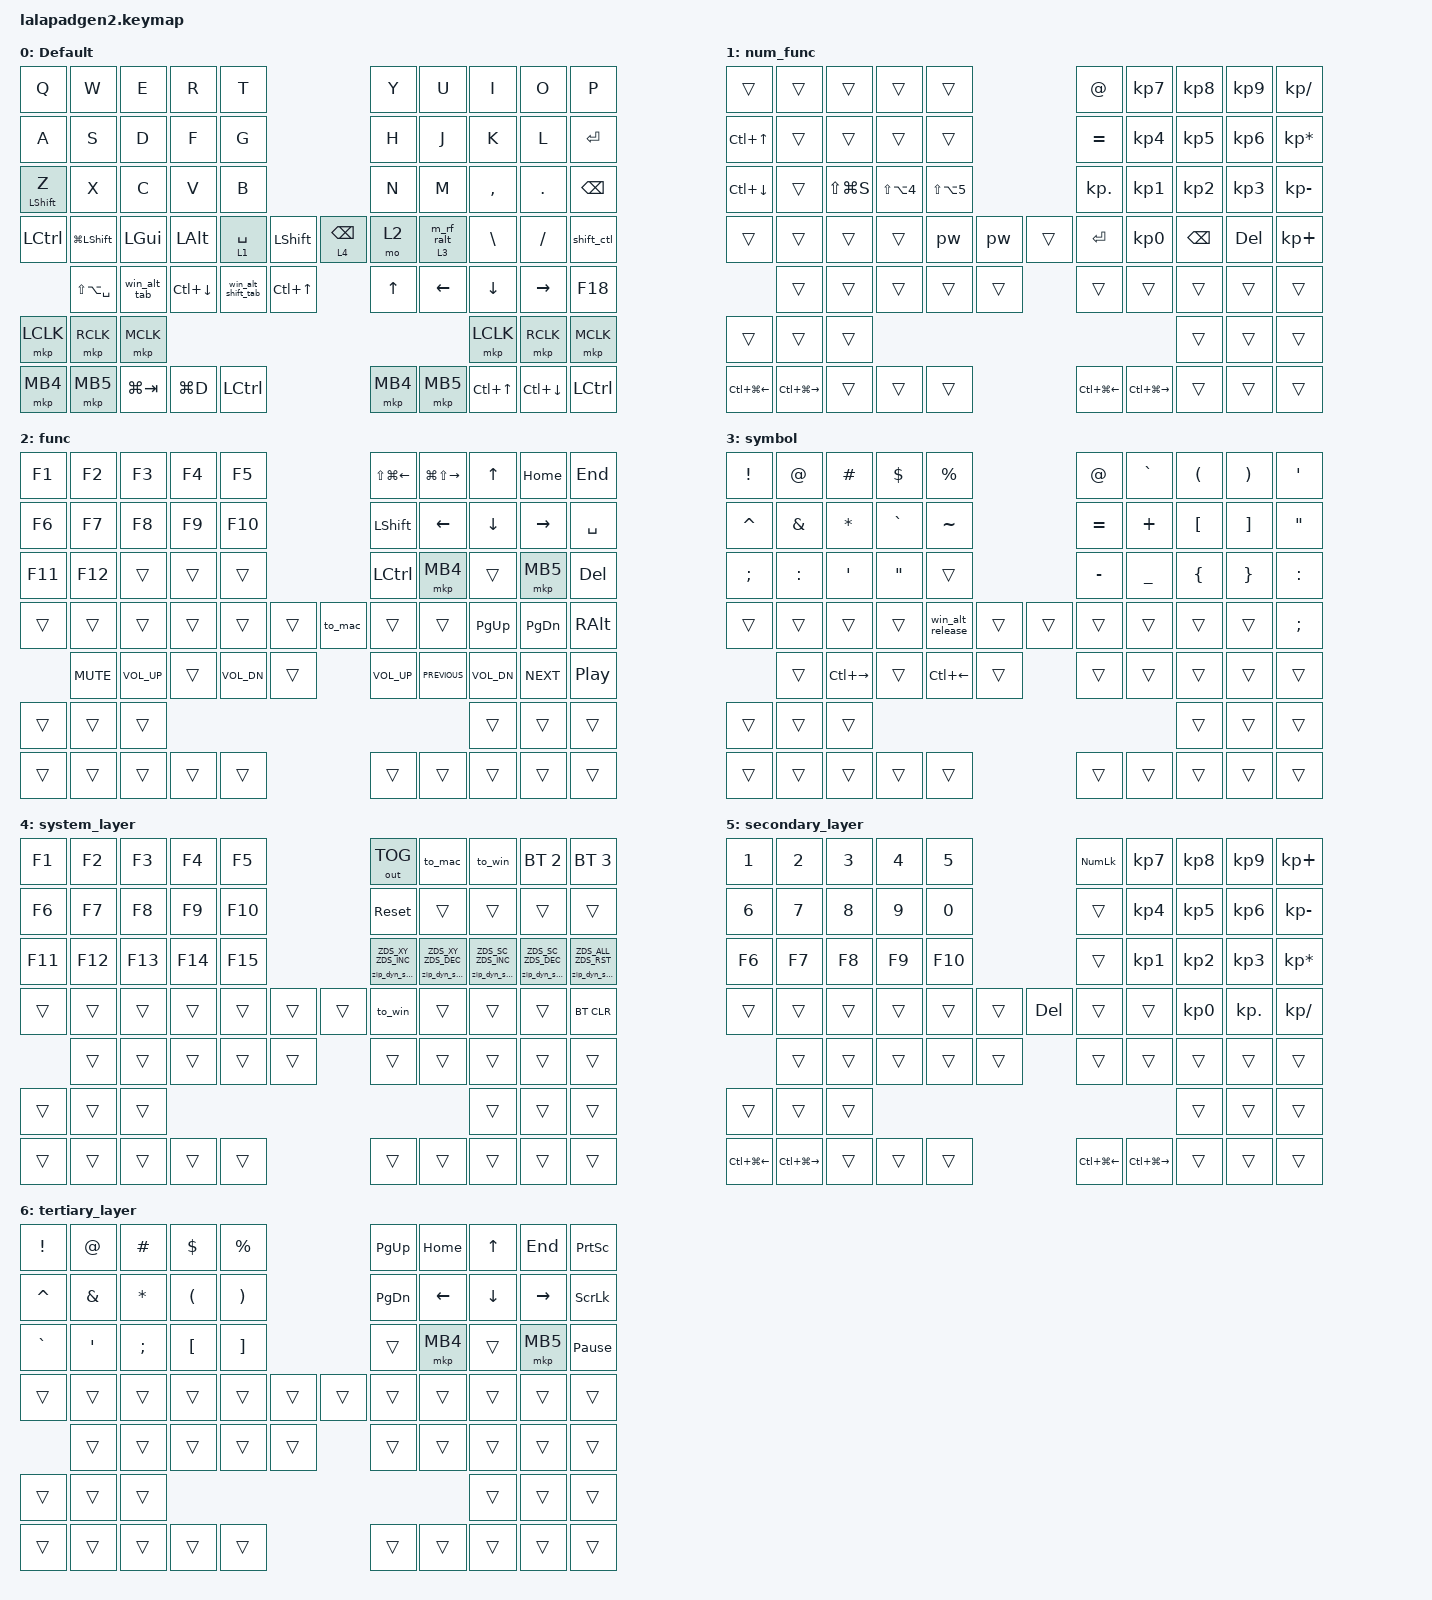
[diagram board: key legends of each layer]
#include <input/processors.dtsi>
#include <dt-bindings/zmk/zip_dynamic_scale.h>
#include <behaviors.dtsi>
#include <dt-bindings/zmk/bt.h>
#include <dt-bindings/zmk/keys.h>
#include <dt-bindings/zmk/outputs.h>
#include <dt-bindings/zmk/pointing.h>

#define DEFAULT_LAYER   0
#define SECONDARY_LAYER 1
#define TERTIARY_LAYER  2
#define SYSTEM_LAYER    3
#define MAC_BT_PROFILE 0
#define WIN_BT_PROFILE 1
#define MAC_SC_SCALE   2
#define WIN_SC_SCALE   50

&mt { quick-tap-ms = <200>; };

&lt { quick-tap-ms = <200>; };

/ {
    behaviors {
        zip_dyn_scale: zip_dyn_scale {
            compatible = "zmk,behavior-zip-dynamic-scale";
            #binding-cells = <2>;
        };

        zip_dyn_scale_set: zip_dyn_scale_set {
            compatible = "zmk,behavior-zip-dynamic-scale-set";
            #binding-cells = <2>;
        };

        mt2: mod_tap2 {
            compatible = "zmk,behavior-hold-tap";
            #binding-cells = <2>;
            flavor = "tap-preferred";
            tapping-term-ms = <200>;
            quick-tap-ms = <200>;
            require-prior-idle-ms = <125>;
            bindings = <&kp>, <&kp>;
        };

        tap_dance_layer_1and2: tap_dance_layer_1and2 {
            compatible = "zmk,behavior-tap-dance";
            label = "td_mo12";
            #binding-cells = <0>;
            bindings = <&mo 5>, <&mo 4>;
        };

        shift_ctl: shift_ctl {
            compatible = "zmk,behavior-tap-dance";
            label = "SHIFT_CTL";
            #binding-cells = <0>;
            bindings = <&kp RIGHT_SHIFT>, <&kp RCTRL>;
        };

        lr_ralt: lr_ralt {
            compatible = "zmk,behavior-hold-tap";
            #binding-cells = <2>;
            flavor = "tap-preferred";
            tapping-term-ms = <200>;
            bindings = <&mo>, <&m_rf_ralt>;
        };

        alt_tab_timer: alt_tab_timer {
            compatible = "shotaste,behavior-alt-tab-timer";
            label = "ALT_TAB_TIMER";
            #binding-cells = <2>;
            release-after-ms = <350>;
        };
    };

    combos {
        compatible = "zmk,combos";

        CONBO_ESC {
            bindings = <&kp TAB>;
            key-positions = <0 1>;
        };

        COMBO_TAB {
            bindings = <&kp CAPSLOCK>;
            key-positions = <10 11>;
        };

        COMBO_ESCAPE {
            bindings = <&kp ESCAPE>;
            key-positions = <3 4>;
        };
    };

    macros {
        pw: pw {
            compatible = "zmk,behavior-macro";
            #binding-cells = <0>;
            bindings = <&kp LS(T) &kp S &kp H &kp I &kp O &kp R &kp I &kp AT &kp NUMBER_0 &kp NUMBER_6 &kp NUMBER_0 &kp NUMBER_4 &kp ENTER>;
            label = "PW";
        };

        m_rf_ralt: m_rf_ralt {
            compatible = "zmk,behavior-macro";
            #binding-cells = <0>;
            tap-ms = <75>;
            bindings = <&kp RALT>;
        };

        win_alt_tab: win_alt_tab {
            compatible = "zmk,behavior-macro";
            label = "WIN_ALT_TAB";
            #binding-cells = <0>;
            bindings = <&alt_tab_timer TAB LALT>;
        };

        win_alt_shift_tab: win_alt_shift_tab {
            compatible = "zmk,behavior-macro";
            label = "WIN_ALT_SHIFT_TAB";
            #binding-cells = <0>;
            bindings = <&alt_tab_timer LS(TAB) LALT>;
        };

        win_alt_release: win_alt_release {
            compatible = "zmk,behavior-macro";
            label = "WIN_ALT_RELEASE";
            #binding-cells = <0>;
            bindings = <&macro_release &kp LALT>;
        };

        to_mac: to_mac {
            compatible = "zmk,behavior-macro";
            label = "TO_MAC";
            #binding-cells = <0>;
            bindings = <&bt BT_SEL MAC_BT_PROFILE &zip_dyn_scale_set ZDS_SC MAC_SC_SCALE>;
        };

        to_win: to_win {
            compatible = "zmk,behavior-macro";
            label = "TO_WIN";
            #binding-cells = <0>;
            bindings = <&bt BT_SEL WIN_BT_PROFILE &zip_dyn_scale_set ZDS_SC WIN_SC_SCALE>;
        };
    };

    keymap {
        compatible = "zmk,keymap";

        DEFAULT_LAYER {
            display-name = "Default";
            bindings = <
&kp Q              &kp W               &kp E          &kp R         &kp T                                          &kp Y     &kp U         &kp I             &kp O               &kp P
&kp A              &kp S               &kp D          &kp F         &kp G                                          &kp H     &kp J         &kp K             &kp L               &kp ENTER
&mt2 LEFT_SHIFT Z  &kp X               &kp C          &kp V         &kp B                                          &kp N     &kp M         &kp COMMA         &kp PERIOD          &kp BACKSPACE
&kp LCTRL          &kp LG(LEFT_SHIFT)  &kp LEFT_GUI   &kp LEFT_ALT  &lt 1 SPACE   &kp LEFT_SHIFT  &lt 4 BACKSPACE  &mo 2     &lr_ralt 3 0  &kp BACKSLASH     &kp SLASH           &shift_ctl
                   &kp LS(LA(SPACE))   &win_alt_tab   &kp LC(DOWN)  &win_alt_shift_tab  &kp LC(UP)      &kp UP           &kp LEFT  &kp DOWN      &kp RIGHT         &kp F18
&mkp LCLK          &mkp RCLK           &mkp MCLK                                                                                           &mkp LCLK         &mkp RCLK           &mkp MCLK
&mkp MB4           &mkp MB5            &kp LG(TAB)    &kp LG(D)     &kp LCTRL                                      &mkp MB4  &mkp MB5      &kp LC(UP_ARROW)  &kp LC(DOWN_ARROW)  &kp LEFT_CONTROL
            >;
        };

        num-func_layey {
            display-name = "num_func";
            bindings = <
&trans              &trans             &trans         &trans                &trans                                &kp AT_SIGN       &kp KP_NUMBER_7    &kp KP_NUMBER_8  &kp KP_NUMBER_9  &kp KP_DIVIDE
&kp LC(UP_ARROW)    &trans             &trans         &trans                &trans                                &kp EQUAL         &kp KP_NUMBER_4    &kp KP_NUMBER_5  &kp KP_NUMBER_6  &kp KP_MULTIPLY
&kp LC(DOWN_ARROW)  &trans             &kp LS(LG(S))  &kp LS(LA(NUMBER_4))  &kp LS(LA(NUMBER_5))                  &kp KP_DOT        &kp KP_NUMBER_1    &kp KP_NUMBER_2  &kp KP_NUMBER_3  &kp KP_MINUS
&trans              &trans             &trans         &trans                &pw                   &pw     &trans  &kp ENTER         &kp KP_NUMBER_0    &kp BACKSPACE    &kp DELETE       &kp KP_PLUS
                    &trans             &trans         &trans                &trans                &trans  &trans  &trans            &trans             &trans           &trans
&trans              &trans             &trans                                                                                                          &trans           &trans           &trans
&kp LC(LG(LEFT))    &kp LC(LG(RIGHT))  &trans         &trans                &trans                                &kp LC(LG(LEFT))  &kp LC(LG(RIGHT))  &trans           &trans           &trans
            >;
        };

        function_layer {
            bindings = <
&kp F1   &kp F2      &kp F3        &kp F4  &kp F5                              &kp LS(LG(LEFT_ARROW))  &kp LG(LS(RIGHT_ARROW))  &kp UP       &kp HOME          &kp END
&kp F6   &kp F7      &kp F8        &kp F9  &kp F10                             &kp LSHFT               &kp LEFT                 &kp DOWN     &kp RIGHT         &kp SPACE
&kp F11  &kp F12     &trans        &trans  &trans                              &kp LCTRL               &mkp MB4                 &trans       &mkp MB5          &kp DEL
&trans   &trans      &trans        &trans  &trans        &trans  &to_mac       &trans                  &trans                   &kp PAGE_UP  &kp PAGE_DOWN     &kp RIGHT_ALT
         &kp C_MUTE  &kp C_VOL_UP  &trans  &kp C_VOL_DN  &trans  &kp C_VOL_UP  &kp K_PREVIOUS          &kp C_VOL_DN             &kp C_NEXT   &kp C_PLAY_PAUSE
&trans   &trans      &trans                                                                                                     &trans       &trans            &trans
&trans   &trans      &trans        &trans  &trans                              &trans                  &trans                   &trans       &trans            &trans
            >;

            label = "func";
        };

        symbol_layer {
            bindings = <
&kp EXCLAMATION  &kp AT_SIGN    &kp HASH      &kp DOLLAR         &kp PERCENT                      &kp AT_SIGN  &kp GRAVE       &kp LEFT_PARENTHESIS  &kp RIGHT_PARENTHESIS  &kp SQT
&kp CARET        &kp AMPERSAND  &kp ASTERISK  &kp GRAVE          &kp TILDE                        &kp EQUAL    &kp PLUS        &kp LBKT              &kp RBKT               &kp DOUBLE_QUOTES
&kp SEMICOLON    &kp COLON      &kp SQT       &kp DOUBLE_QUOTES  &trans                           &kp MINUS    &kp UNDERSCORE  &kp LEFT_BRACE        &kp RIGHT_BRACE        &kp COLON
&trans           &trans         &trans        &trans             &win_alt_release  &trans  &trans  &trans       &trans          &trans                &trans                 &kp SEMI
                 &trans         &kp LC(RIGHT)  &trans            &kp LC(LEFT)     &trans  &trans  &trans       &trans          &trans                &trans
&trans           &trans         &trans                                                                                         &trans                &trans                 &trans
&trans           &trans         &trans        &trans             &trans                           &trans       &trans          &trans                &trans                 &trans
            >;

            label = "symbol";
        };

        SYSTEM_LAYER {
            display-name = "system_layer";
            bindings = <
&kp F1   &kp F2   &kp F3   &kp F4   &kp F5                   &out OUT_TOG                   &to_mac                        &to_win                        &bt BT_SEL 2                   &bt BT_SEL 3
&kp F6   &kp F7   &kp F8   &kp F9   &kp F10                  &sys_reset                     &trans                         &trans                         &trans                         &trans
&kp F11  &kp F12  &kp F13  &kp F14  &kp F15                  &zip_dyn_scale ZDS_XY ZDS_INC  &zip_dyn_scale ZDS_XY ZDS_DEC  &zip_dyn_scale ZDS_SC ZDS_INC  &zip_dyn_scale ZDS_SC ZDS_DEC  &zip_dyn_scale ZDS_ALL ZDS_RST
&trans   &trans   &trans   &trans   &trans   &trans  &trans  &to_win                        &trans                         &trans                         &trans                         &bt BT_CLR
         &trans   &trans   &trans   &trans   &trans  &trans  &trans                         &trans                         &trans                         &trans
&trans   &trans   &trans                                                                                                   &trans                         &trans                         &trans
&trans   &trans   &trans   &trans   &trans                   &trans                         &trans                         &trans                         &trans                         &trans
            >;
        };

        SECONDARY_LAYER {
            display-name = "secondary_layer";
            bindings = <
&kp NUMBER_1      &kp NUMBER_2       &kp NUMBER_3  &kp NUMBER_4  &kp N5                    &kp KP_NUMLOCK    &kp KP_NUMBER_7    &kp KP_NUMBER_8  &kp KP_NUMBER_9  &kp KP_PLUS
&kp NUMBER_6      &kp N7             &kp N8        &kp N9        &kp N0                    &trans            &kp KP_NUMBER_4    &kp KP_NUMBER_5  &kp KP_NUMBER_6  &kp KP_MINUS
&kp F6            &kp F7             &kp F8        &kp F9        &kp F10                   &trans            &kp KP_NUMBER_1    &kp KP_NUMBER_2  &kp KP_NUMBER_3  &kp KP_ASTERISK
&trans            &trans             &trans        &trans        &trans   &trans  &kp DEL  &trans            &trans             &kp KP_NUMBER_0  &kp KP_DOT       &kp KP_DIVIDE
                  &trans             &trans        &trans        &trans   &trans  &trans   &trans            &trans             &trans           &trans
&trans            &trans             &trans                                                                                     &trans           &trans           &trans
&kp LC(LG(LEFT))  &kp LC(LG(RIGHT))  &trans        &trans        &trans                    &kp LC(LG(LEFT))  &kp LC(LG(RIGHT))  &trans           &trans           &trans
            >;
        };

        TERTIARY_LAYER {
            display-name = "tertiary_layer";
            bindings = <
&kp EXCLAMATION  &kp AT_SIGN    &kp HASH      &kp DOLLAR            &kp PERCENT                            &kp PAGE_UP    &kp HOME  &kp UP_ARROW    &kp END    &kp PRINTSCREEN
&kp CARET        &kp AMPERSAND  &kp ASTERISK  &kp LEFT_PARENTHESIS  &kp RIGHT_PARENTHESIS                  &kp PAGE_DOWN  &kp LEFT  &kp DOWN_ARROW  &kp RIGHT  &kp SCROLLLOCK
&kp GRAVE        &kp SQT        &kp SEMI      &kp LEFT_BRACKET      &kp RIGHT_BRACKET                      &trans         &mkp MB4  &trans          &mkp MB5   &kp PAUSE_BREAK
&trans           &trans         &trans        &trans                &trans                 &trans  &trans  &trans         &trans    &trans          &trans     &trans
                 &trans         &trans        &trans                &trans                 &trans  &trans  &trans         &trans    &trans          &trans
&trans           &trans         &trans                                                                                              &trans          &trans     &trans
&trans           &trans         &trans        &trans                &trans                                 &trans         &trans    &trans          &trans     &trans
            >;
        };
    };

    conditional_layers { compatible = "zmk,conditional-layers"; };
};
